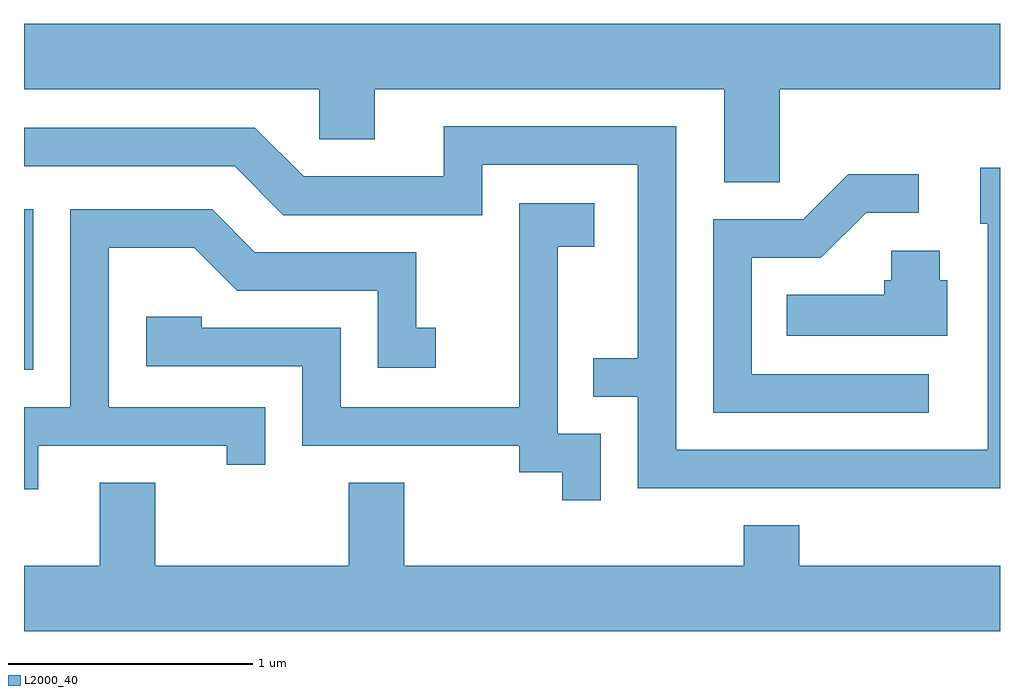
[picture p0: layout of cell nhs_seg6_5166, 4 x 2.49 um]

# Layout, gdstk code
import gdstk
lib = gdstk.Library(unit=1e-6, precision=1e-09)
def R(c, l, rs):  # rectangles x0, y0, x1, y1
    for r in rs: c.add(gdstk.rectangle(r[:2], r[2:], *l))
def P(c, l, *ps):  # polygons
    for p in ps: c.add(gdstk.Polygon(p, *l))
L2000_40 = (2000, 40)

nhs_seg6_5166 = lib.new_cell('nhs_seg6_5166')
R(nhs_seg6_5166, L2000_40, [(341.611,1666.546,341.649,1667.204)])
P(nhs_seg6_5166, L2000_40, [(344.709,1667.696),(345.611,1667.696),(345.611,1667.964),(341.611,1667.964),(341.611,1667.696),(342.821,1667.696),(342.821,1667.491),(343.049,1667.491),(343.049,1667.696),(344.481,1667.696),(344.481,1667.316),(344.709,1667.316)],
  [(345.611,1667.374),(345.531,1667.374),(345.531,1667.146),(345.561,1667.146),(345.561,1666.219),(344.284,1666.219),(344.284,1667.544),(343.331,1667.544),(343.331,1667.339),(342.757,1667.339),(342.557,1667.539),(341.611,1667.539),(341.611,1667.381),(342.474,1667.381),(342.674,1667.181),(343.489,1667.181),(343.489,1667.386),(344.126,1667.386),(344.126,1666.594),(343.943,1666.594),(343.943,1666.436),(344.126,1666.436),(344.126,1666.061),(345.611,1666.061)],
  [(345.318,1666.529),(344.594,1666.529),(344.594,1667.006),(344.877,1667.006),(345.062,1667.191),(345.278,1667.191),(345.278,1667.349),(344.989,1667.349),(344.804,1667.164),(344.436,1667.164),(344.436,1666.371),(345.318,1666.371)],
  [(343.974,1666.284),(343.799,1666.284),(343.799,1667.051),(343.949,1667.051),(343.949,1667.229),(343.641,1667.229),(343.641,1666.394),(342.909,1666.394),(342.909,1666.719),(342.339,1666.719),(342.339,1666.764),(342.111,1666.764),(342.111,1666.561),(342.751,1666.561),(342.751,1666.236),(343.641,1666.236),(343.641,1666.126),(343.816,1666.126),(343.816,1666.013),(343.974,1666.013)],
  [(341.669,1666.236),(342.441,1666.236),(342.441,1666.158),(342.599,1666.158),(342.599,1666.394),(341.959,1666.394),(341.959,1667.046),(342.309,1667.046),(342.484,1666.871),(343.061,1666.871),(343.061,1666.556),(343.298,1666.556),(343.298,1666.719),(343.219,1666.719),(343.219,1667.029),(342.557,1667.029),(342.382,1667.204),(341.801,1667.204),(341.801,1666.394),(341.611,1666.394),(341.611,1666.058),(341.669,1666.058)],
  [(345.394,1666.914),(345.364,1666.914),(345.364,1667.034),(345.166,1667.034),(345.166,1666.914),(345.136,1666.914),(345.136,1666.854),(344.738,1666.854),(344.738,1666.686),(345.394,1666.686)],
  [(345.611,1665.744),(344.789,1665.744),(344.789,1665.909),(344.561,1665.909),(344.561,1665.744),(343.169,1665.744),(343.169,1666.084),(342.941,1666.084),(342.941,1665.744),(342.149,1665.744),(342.149,1666.084),(341.921,1666.084),(341.921,1665.744),(341.611,1665.744),(341.611,1665.476),(345.611,1665.476)])

lib.write_gds('nhs_seg6_5166.gds')
